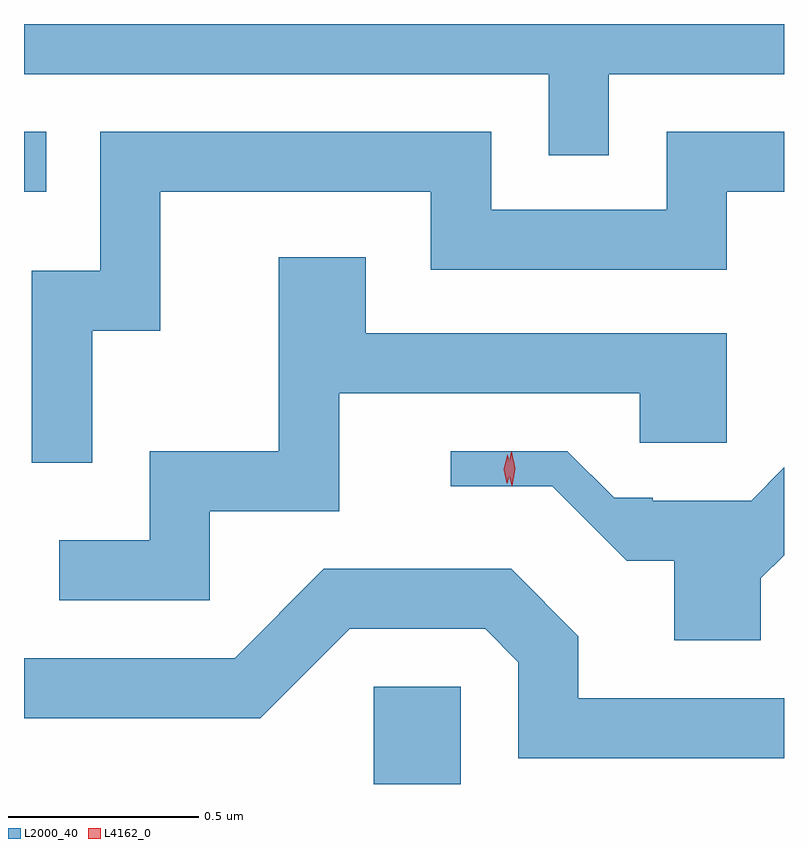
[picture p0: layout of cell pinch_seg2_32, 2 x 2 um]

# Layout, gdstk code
import gdstk
lib = gdstk.Library(unit=1e-6, precision=1e-09)
def R(c, l, rs):  # rectangles x0, y0, x1, y1
    for r in rs: c.add(gdstk.rectangle(r[:2], r[2:], *l))
def P(c, l, *ps):  # polygons
    for p in ps: c.add(gdstk.Polygon(p, *l))
L2000_40 = (2000, 40)
L4162_0 = (4162, 0)

pinch_seg2_32 = lib.new_cell('pinch_seg2_32')
R(pinch_seg2_32, L2000_40, [(1668.431,1048.668,1668.659,1048.924), (1667.51,1050.226,1667.568,1050.384)])
P(pinch_seg2_32, L2000_40, [(1669.049,1050.536),(1669.51,1050.536),(1669.51,1050.668),(1667.51,1050.668),(1667.51,1050.536),(1668.891,1050.536),(1668.891,1050.323),(1669.049,1050.323)],
  [(1667.689,1049.861),(1667.869,1049.861),(1667.869,1050.226),(1668.581,1050.226),(1668.581,1050.021),(1669.359,1050.021),(1669.359,1050.226),(1669.51,1050.226),(1669.51,1050.384),(1669.201,1050.384),(1669.201,1050.179),(1668.739,1050.179),(1668.739,1050.384),(1667.711,1050.384),(1667.711,1050.019),(1667.531,1050.019),(1667.531,1049.513),(1667.689,1049.513)],
  [(1667.999,1049.386),(1668.339,1049.386),(1668.339,1049.696),(1669.131,1049.696),(1669.131,1049.566),(1669.359,1049.566),(1669.359,1049.854),(1668.409,1049.854),(1668.409,1050.054),(1668.181,1050.054),(1668.181,1049.544),(1667.841,1049.544),(1667.841,1049.309),(1667.603,1049.309),(1667.603,1049.151),(1667.999,1049.151)],
  [(1669.449,1049.209),(1669.51,1049.27),(1669.51,1049.501),(1669.424,1049.414),(1669.165,1049.414),(1669.165,1049.421),(1669.063,1049.421),(1668.94,1049.544),(1668.633,1049.544),(1668.633,1049.452),(1668.9,1049.452),(1669.096,1049.256),(1669.221,1049.256),(1669.221,1049.046),(1669.449,1049.046)],
  [(1669.51,1048.894),(1668.969,1048.894),(1668.969,1049.057),(1668.792,1049.234),(1668.299,1049.234),(1668.064,1048.999),(1667.51,1048.999),(1667.51,1048.841),(1668.132,1048.841),(1668.367,1049.076),(1668.724,1049.076),(1668.811,1048.989),(1668.811,1048.736),(1669.51,1048.736)])
P(pinch_seg2_32, L4162_0, [(1668.794,1049.452),(1668.794,1049.453),(1668.783,1049.497),(1668.792,1049.542),(1668.793,1049.543),(1668.793,1049.542),(1668.803,1049.498),(1668.795,1049.453)],
  [(1668.781,1049.459),(1668.772,1049.496),(1668.782,1049.533),(1668.782,1049.534),(1668.783,1049.533),(1668.792,1049.496),(1668.782,1049.459),(1668.782,1049.459)])

lib.write_gds('pinch_seg2_32.gds')
